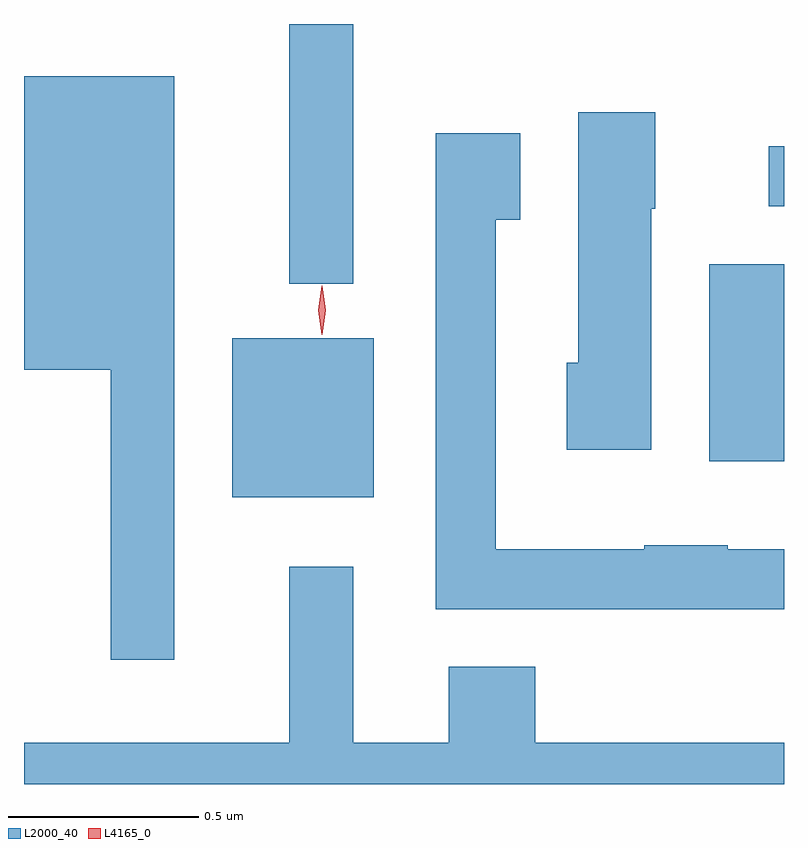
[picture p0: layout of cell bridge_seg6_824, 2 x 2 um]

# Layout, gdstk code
import gdstk
lib = gdstk.Library(unit=1e-6, precision=1e-09)
def R(c, l, rs):  # rectangles x0, y0, x1, y1
    for r in rs: c.add(gdstk.rectangle(r[:2], r[2:], *l))
def P(c, l, *ps):  # polygons
    for p in ps: c.add(gdstk.Polygon(p, *l))
L2000_40 = (2000, 40)
L4165_0 = (4165, 0)

bridge_seg6_824 = lib.new_cell('bridge_seg6_824')
R(bridge_seg6_824, L2000_40, [(442.301,1535.411,442.674,1535.829), (443.556,1535.506,443.753,1536.024), (442.451,1535.973,442.619,1536.656), (443.713,1536.176,443.753,1536.334)])
P(bridge_seg6_824, L2000_40, [(442.149,1536.519),(441.753,1536.519),(441.753,1535.746),(441.981,1535.746),(441.981,1534.983),(442.149,1534.983)],
  [(443.404,1536.17),(443.414,1536.17),(443.414,1536.424),(443.211,1536.424),(443.211,1535.764),(443.181,1535.764),(443.181,1535.536),(443.404,1535.536)],
  [(443.753,1535.274),(443.605,1535.274),(443.605,1535.284),(443.385,1535.284),(443.385,1535.274),(442.994,1535.274),(442.994,1536.141),(443.059,1536.141),(443.059,1536.369),(442.836,1536.369),(442.836,1535.116),(443.753,1535.116)],
  [(442.871,1534.964),(442.871,1534.764),(442.619,1534.764),(442.619,1535.228),(442.451,1535.228),(442.451,1534.764),(441.753,1534.764),(441.753,1534.656),(443.753,1534.656),(443.753,1534.764),(443.099,1534.764),(443.099,1534.964)])
P(bridge_seg6_824, L4165_0, [(442.537,1535.838),(442.537,1535.838),(442.527,1535.903),(442.537,1535.967),(442.537,1535.967),(442.538,1535.967),(442.547,1535.903),(442.538,1535.838)])

lib.write_gds('bridge_seg6_824.gds')
